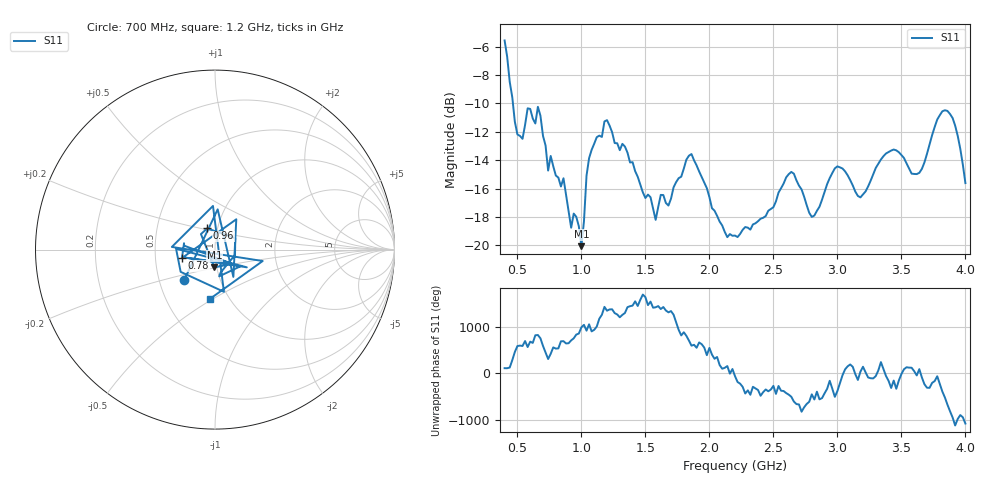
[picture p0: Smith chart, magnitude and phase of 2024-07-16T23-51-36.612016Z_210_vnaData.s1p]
!Created with skrf (http://scikit-rf.org).
# Hz S RI R 50.0
!freq ReS11 ImS11
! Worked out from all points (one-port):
!   181 points, 400 MHz to 4 GHz, reference 50 ohm
!   lowest |S11| = -20.1 dB at 1 GHz (marker M1), VSWR 1.22, Z = 48.7 - j9.76 ohm
!   |S11| at or under -10 dB: 465 MHz to end of sweep
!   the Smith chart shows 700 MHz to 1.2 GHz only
!   S11 on the Smith chart (normalised r, x): 700 MHz: 0.67, -0.24; 780 MHz: 0.69, -0.07; 960 MHz: 0.89, +0.21; 1.2 GHz: 0.82, -0.48
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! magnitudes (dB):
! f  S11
! 400 MHz  -5.6
! 500 MHz  -12.2
! 660 MHz  -10.2
! 700 MHz  -12.3
! 740 MHz  -14.7
! 780 MHz  -14.4
! 860 MHz  -15.3
! 920 MHz  -18.8
! 960 MHz  -18.0
! 1 GHz  -20.1
! 1.06 GHz  -13.9
! 1.2 GHz  -11.2
! 1.3 GHz  -13.3
! 1.58 GHz  -18.2
! 1.76 GHz  -15.3
! 1.86 GHz  -13.6
! 2.2 GHz  -19.3
! 2.66 GHz  -15.0
! 2.8 GHz  -18.0
! 2.98 GHz  -14.6
! 3.1 GHz  -15.4
! 3.18 GHz  -16.6
! 3.44 GHz  -13.2
! 3.56 GHz  -14.6
! 3.66 GHz  -14.6
! 3.84 GHz  -10.5
! 3.92 GHz  -11.6
! 4 GHz  -15.6
